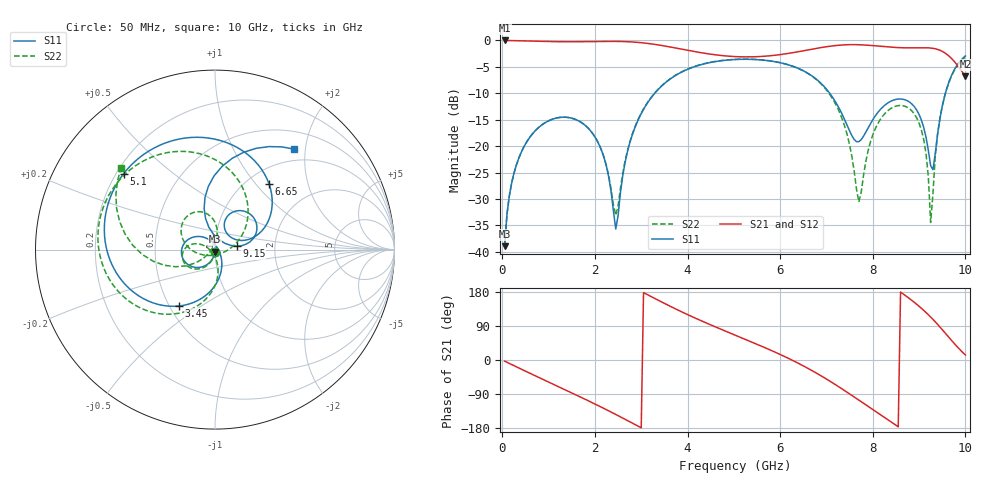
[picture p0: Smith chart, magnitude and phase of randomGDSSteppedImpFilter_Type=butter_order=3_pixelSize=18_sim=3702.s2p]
! freq	dB(S11)	phase(S11)	dB(S12)	phase(S12)
!  dB(S21)	phase(S21)	dB(S22)	phase(S22)
!S-par simulation data
#  GHz  S  DB  R 50
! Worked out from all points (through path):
!   200 points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, 50 MHz to 10 GHz, reference 50 ohm
!   highest |S21| = -0.01 dB at 50 MHz (marker M1); lowest = -6.8 dB at 10 GHz (marker M2)
!   group delay of S21, straight-line fit = 181 ps
!   lowest |S11| = -38.9 dB at 50 MHz (marker M3), VSWR 1.02, Z = 49.9 - j1.13 ohm
!   |S11| at or under -10 dB: start of sweep to 3.292 GHz; 7.07 GHz to 9.569 GHz (2.499 GHz wide, 30 % of centre)
!   |S22| runs from -38.9 to -3.2 dB; largest |S21 - S12| = 0
!   S11 on the Smith chart (normalised r, x): 50 MHz: 1.00, -0.02; 3.45 GHz: 0.56, -0.41; 5.1 GHz: 0.23, +0.34; 6.65 GHz: 1.25, +1.18; 9.15 GHz: 1.27, +0.05; 10 GHz: 0.79, +1.79
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0.05  -38.92 -92.4  -0.01 -3.0  -0.01 -3.0  -38.92 -92.1
0.2  -27.07 -102.4  -0.03 -11.9  -0.03 -11.9  -27.07 -101.1
0.55  -18.89 -124.5  -0.10 -32.3  -0.10 -32.3  -18.88 -121.0
1.75  -15.79 160.9  -0.24 -101.3  -0.24 -101.3  -15.78 176.1
2.2  -22.27 126.0  -0.18 -128.2  -0.18 -128.2  -22.19 159.7
2.45  -35.67 38.4  -0.18 -143.7  -0.18 -143.7  -33.09 -143.7
2.8  -18.05 -74.2  -0.29 -166.0  -0.29 -166.0  -17.90 -82.3
3.4  -8.97 -119.3  -0.89 155.6  -0.89 155.6  -8.92 -111.8
3.45  -8.55 -122.7  -0.97 152.5  -0.97 152.5  -8.50 -114.5
5.05  -3.60 143.0  -3.07 64.5  -3.07 64.5  -3.57 166.4
5.1  -3.58 140.3  -3.09 62.0  -3.09 62.0  -3.55 164.1
6.65  -6.49 50.5  -1.72 -25.4  -1.72 -25.4  -6.54 83.6
6.7  -6.79 47.4  -1.64 -28.8  -1.64 -28.8  -6.84 80.4
7.35  -14.18 16.8  -0.85 -77.4  -0.85 -77.4  -15.10 29.2
7.7  -19.15 50.1  -0.81 -105.8  -0.81 -105.8  -30.57 -75.3
7.95  -15.74 70.8  -0.94 -126.4  -0.94 -126.4  -19.20 -171.9
8.35  -11.69 56.6  -1.25 -159.5  -1.25 -159.5  -13.12 148.7
8.85  -12.07 22.4  -1.40 156.7  -1.40 156.7  -13.40 105.9
9.15  -18.32 9.1  -1.39 125.4  -1.39 125.4  -21.41 81.2
9.25  -23.71 32.6  -1.44 113.5  -1.44 113.5  -34.44 120.8
9.5  -12.49 104.8  -2.06 80.2  -2.06 80.2  -12.44 -156.4
10  -2.94 51.7  -6.79 13.1  -6.79 13.1  -3.17 138.8
